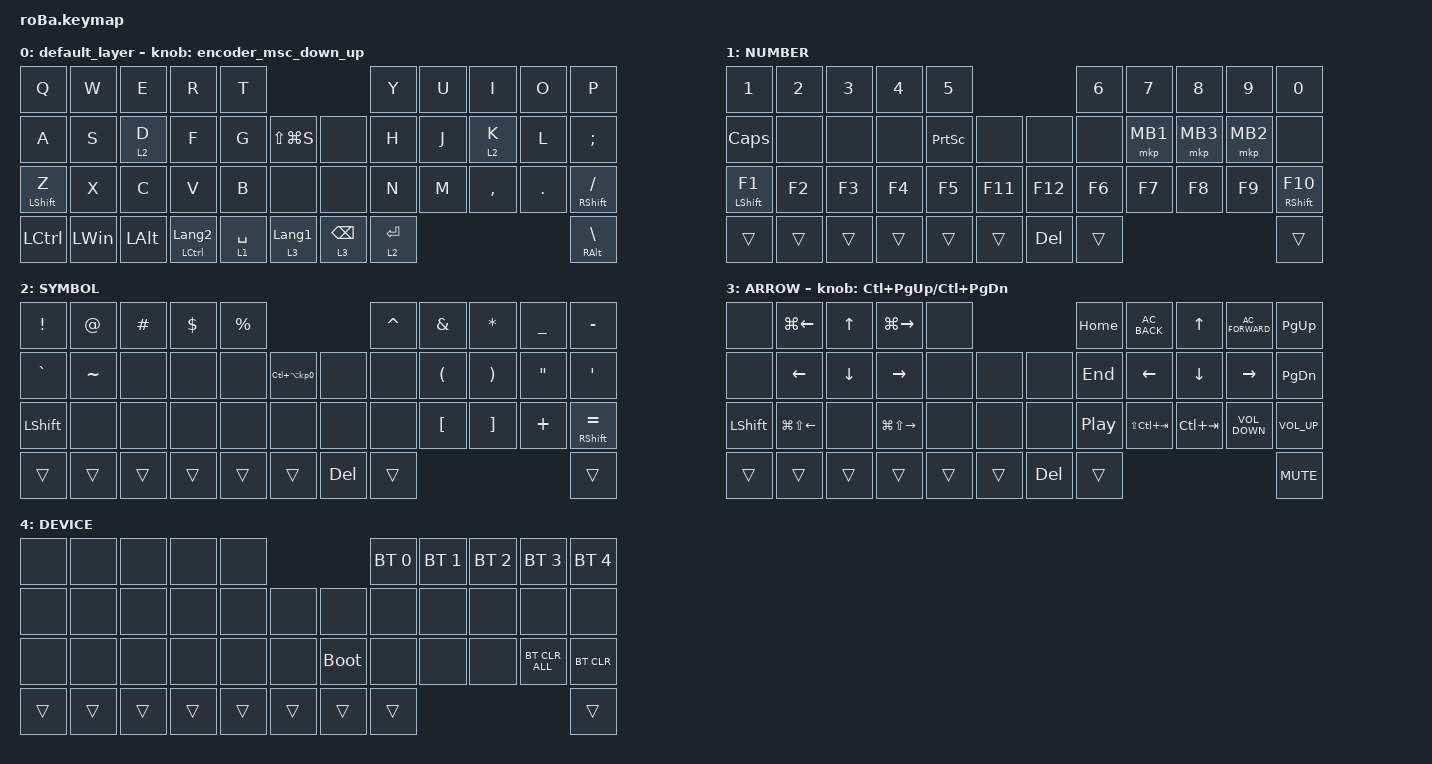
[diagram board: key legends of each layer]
#include <behaviors.dtsi>
#include <dt-bindings/zmk/bt.h>
#include <dt-bindings/zmk/keys.h>
#include <dt-bindings/zmk/pointing.h>

/* マウススクロール量設定 */
#define ZMK_POINTING_DEFAULT_SCRL_VAL 80

&mt {
    quick-tap-ms = <0>;
    flavor = "balanced";
};

&lt {
    quick-tap-ms = <300>;
    flavor = "balanced";
};

&trackball {
    scroll-layers = <2>;

    // arrows {
    //     layers = <3>;
    //     bindings =
    //         <&kp RIGHT_ARROW>,
    //         <&kp LEFT_ARROW>,
    //         <&kp UP_ARROW>,
    //         <&kp DOWN_ARROW>;
    //     tick = <10>;
    //     wait-ms = <5>;
    //     tap-ms = <5>;
    // };
};

/ {
    combos {
        compatible = "zmk,combos";

        layer4_ESC {
            bindings = <&lt 4 ESCAPE>;
            key-positions = <39 40>;
        };

        tab {
            bindings = <&kp TAB>;
            key-positions = <12 13>;
        };
    };

    macros {
        to_layer_0: to_layer_0 {
            compatible = "zmk,behavior-macro-one-param";
            #binding-cells = <1>;
            bindings = <&to 0 &macro_param_1to1 &kp MACRO_PLACEHOLDER>;
            label = "TO_LAYER_0";
        };
    };

    behaviors {
        lt_to_layer_0: lt_to_layer_0 {
            compatible = "zmk,behavior-hold-tap";
            label = "LAYER_TAP_TO_0";
            bindings = <&mo>, <&to_layer_0>;

            #binding-cells = <2>;
            tapping-term-ms = <200>;
        };

        /* マウススクロール追加 */
        encoder_msc_down_up: encoder_msc_down_up {
            compatible = "zmk,behavior-sensor-rotate";
            label = "ENCODER_MSC_DOWN_UP";
            #sensor-binding-cells = <0>;
            bindings = <&msc SCRL_DOWN>, <&msc SCRL_UP>;

            tap-ms = <20>;
        };

        double_tap: double_tap {
            compatible = "zmk,behavior-hold-tap";
            label = "DOUBLE_TAP";
            bindings = <&mo>, <&kp>;

            #binding-cells = <2>;
            tapping-term-ms = <200>;
            quick-tap-ms = <200>;
        };
    };

    keymap {
        compatible = "zmk,keymap";

        default_layer {
            bindings = <
&kp Q             &kp W         &kp E         &kp R                        &kp T                                                                             &kp Y                &kp U  &kp I      &kp O    &kp P
&kp A             &kp S         &lt 2 D       &kp F                        &kp G                   &kp LS(LG(S))                    &none                    &kp H                &kp J  &lt 2 K    &kp L    &kp SEMICOLON
&mt LEFT_SHIFT Z  &kp X         &kp C         &kp V                        &kp B                   &none                            &none                    &kp N                &kp M  &kp COMMA  &kp DOT  &mt RIGHT_SHIFT SLASH
&kp LEFT_CONTROL  &kp LEFT_WIN  &kp LEFT_ALT  &mt LEFT_CONTROL LANGUAGE_2  &lt_to_layer_0 1 SPACE  &lt_to_layer_0 3 LANGUAGE_1      &double_tap 3 BACKSPACE  &double_tap 2 ENTER                             &mt RIGHT_ALT BACKSLASH
            >;

            sensor-bindings = <&encoder_msc_down_up>;
        };

        layer1 {
            label = "NUMBER";
            bindings = <
&kp NUMBER_1       &kp NUMBER_2  &kp NUMBER_3  &kp NUMBER_4  &kp NUMBER_5                              &kp NUMBER_6  &kp NUMBER_7  &kp NUMBER_8  &kp NUMBER_9  &kp NUMBER_0
&kp CAPSLOCK       &none         &none         &none         &kp PRINTSCREEN  &none        &none       &none         &mkp MB1      &mkp MB3      &mkp MB2      &none
&mt LEFT_SHIFT F1  &kp F2        &kp F3        &kp F4        &kp F5           &kp F11      &kp F12     &kp F6        &kp F7        &kp F8        &kp F9        &mt RIGHT_SHIFT F10
&trans             &trans        &trans        &trans        &trans           &trans       &kp DELETE  &trans                                                  &trans
            >;
        };

        layer2 {
            label = "SYMBOL";
            bindings = <
&kp EXCLAMATION  &kp AT_SIGN  &kp HASH  &kp DOLLAR  &kp PERCENT                                           &kp CARET  &kp AMPERSAND         &kp ASTERISK           &kp UNDERSCORE     &kp MINUS
&kp GRAVE        &kp TILDE    &none     &none       &none        &kp LC(LA(KP_NUMBER_0))      &none       &none      &kp LEFT_PARENTHESIS  &kp RIGHT_PARENTHESIS  &kp DOUBLE_QUOTES  &kp SINGLE_QUOTE
&kp LEFT_SHIFT   &none        &none     &none       &none        &none                        &none       &none      &kp LEFT_BRACKET      &kp RIGHT_BRACKET      &kp PLUS           &mt RIGHT_SHIFT EQUAL
&trans           &trans       &trans    &trans      &trans       &trans                       &kp DELETE  &trans                                                                     &trans
            >;
        };

        layer3 {
            label = "ARROW";
            bindings = <
&none           &kp LG(LEFT_ARROW)      &kp UP_ARROW    &kp LG(RIGHT_ARROW)      &none                           &kp HOME          &kp C_AC_BACK    &kp UP_ARROW    &kp C_AC_FORWARD   &kp PAGE_UP
&none           &kp LEFT_ARROW          &kp DOWN_ARROW  &kp RIGHT_ARROW          &none   &none       &none       &kp END           &kp LEFT_ARROW   &kp DOWN_ARROW  &kp RIGHT_ARROW    &kp PAGE_DOWN
&kp LEFT_SHIFT  &kp LG(LS(LEFT_ARROW))  &none           &kp LG(LS(RIGHT_ARROW))  &none   &none       &none       &kp C_PLAY_PAUSE  &kp LS(LC(TAB))  &kp LC(TAB)     &kp C_VOLUME_DOWN  &kp C_VOLUME_UP
&trans          &trans                  &trans          &trans                   &trans  &trans      &kp DELETE  &trans                                                                &kp C_MUTE
            >;

            sensor-bindings = <&inc_dec_kp LC(PAGE_UP) LC(PAGE_DOWN)>;
        };

        layer4 {
            label = "DEVICE";
            bindings = <
&none   &none   &none   &none   &none                            &bt BT_SEL 0  &bt BT_SEL 1  &bt BT_SEL 2  &bt BT_SEL 3    &bt BT_SEL 4
&none   &none   &none   &none   &none   &none       &none        &none         &none         &none         &none           &none
&none   &none   &none   &none   &none   &none       &bootloader  &none         &none         &none         &bt BT_CLR_ALL  &bt BT_CLR
&trans  &trans  &trans  &trans  &trans  &trans      &trans       &trans                                                    &trans
            >;
        };
    };
};
